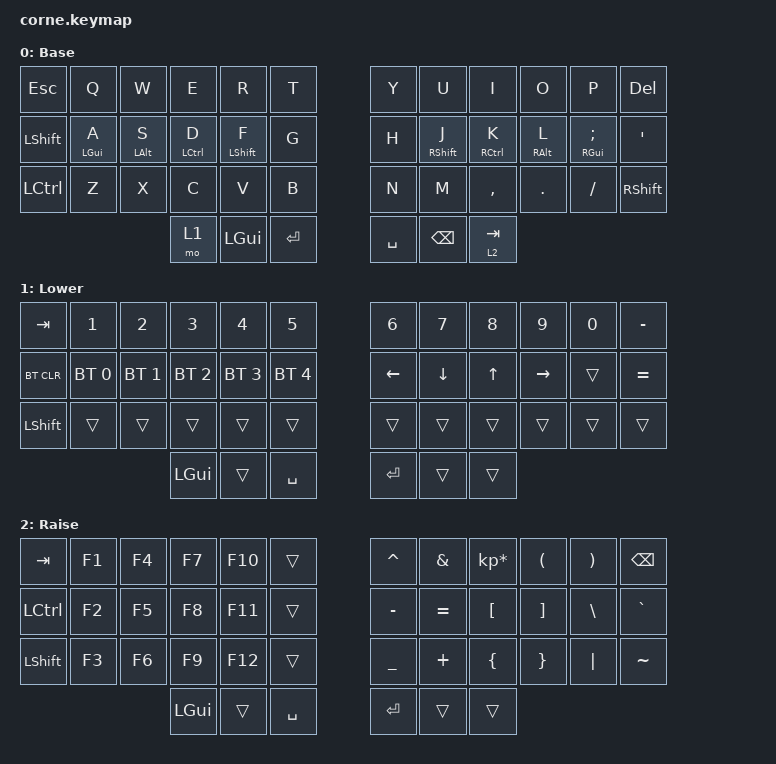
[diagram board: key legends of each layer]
/*
 * Copyright (c) 2020 The ZMK Contributors
 *
 * SPDX-License-Identifier: MIT
 */

#include <behaviors.dtsi>
#include <dt-bindings/zmk/bt.h>
#include <dt-bindings/zmk/keys.h>

/ {
    behaviors {
        HMR: HMR {
            compatible = "zmk,behavior-hold-tap";
            label = "HMR";
            bindings = <&kp>, <&kp>;

            #binding-cells = <2>;
            flavor = "tap-preferred";
            tapping-term-ms = <280>;
            quick-tap-ms = <175>;
            hold-trigger-on-release;
            hold-trigger-key-positions = <41 40 39 0 1 5 12 13 14 15 16 17 24 25 26 27 28 29 36 37 38 0 1 2 3 4 5 12 13 14 15 16 17 24 25 26 27 28 29 36 37 38>;
        };

        HML: HML {
            compatible = "zmk,behavior-hold-tap";
            label = "HML";
            bindings = <&kp>, <&kp>;

            #binding-cells = <2>;
            tapping-term-ms = <280>;
            quick-tap-ms = <175>;
            flavor = "tap-preferred";
            hold-trigger-on-release;
            hold-trigger-key-positions = <38 37 36 6 7 8 9 10 11 18 19 20 21 22 23 30 31 32 33 34 35 39 40 41>;
        };
    };

    keymap {
        compatible = "zmk,keymap";

        default_layer {
            // -----------------------------------------------------------------------------------------
            // |  TAB |  Q  |  W  |  E  |  R  |  T  |   |  Y  |  U   |  I  |  O  |  P  | BKSP |
            // | CTRL |  A  |  S  |  D  |  F  |  G  |   |  H  |  J   |  K  |  L  |  ;  |  '   |
            // | SHFT |  Z  |  X  |  C  |  V  |  B  |   |  N  |  M   |  ,  |  .  |  /  | ESC  |
            //                    | GUI | LWR | SPC |   | ENT | RSE  | ALT |

            display-name = "Base";
            bindings = <
&kp ESC     &kp Q            &kp W            &kp E         &kp R              &kp T        &kp Y      &kp U               &kp I                 &kp O             &kp P                     &kp DELETE
&kp LSHIFT  &HML LEFT_GUI A  &HML LEFT_ALT S  &HML LCTRL D  &HML LEFT_SHIFT F  &kp G        &kp H      &HMR RIGHT_SHIFT J  &HMR RIGHT_CONTROL K  &HMR RIGHT_ALT L  &HMR RIGHT_GUI SEMICOLON  &kp SQT
&kp LCTRL   &kp Z            &kp X            &kp C         &kp V              &kp B        &kp N      &kp M               &kp COMMA             &kp DOT           &kp FSLH                  &kp RSHFT
                                              &mo 1         &kp LEFT_GUI       &kp ENTER    &kp SPACE  &kp BACKSPACE       &lt 2 TAB
            >;
        };

        lower_layer {
            // -----------------------------------------------------------------------------------------
            // |  TAB |  1  |  2  |  3  |  4  |  5  |   |  6  |  7  |  8  |  9  |  0  | BKSP |
            // | BTCLR| BT1 | BT2 | BT3 | BT4 | BT5 |   | LFT | DWN |  UP | RGT |     |      |
            // | SHFT |     |     |     |     |     |   |     |     |     |     |     |      |
            //                    | GUI |     | SPC |   | ENT |     | ALT |

            display-name = "Lower";
            bindings = <
&kp TAB     &kp N1        &kp N2        &kp N3        &kp N4        &kp N5          &kp N6    &kp N7    &kp N8  &kp N9     &kp N0  &kp MINUS
&bt BT_CLR  &bt BT_SEL 0  &bt BT_SEL 1  &bt BT_SEL 2  &bt BT_SEL 3  &bt BT_SEL 4    &kp LEFT  &kp DOWN  &kp UP  &kp RIGHT  &trans  &kp EQUAL
&kp LSHFT   &trans        &trans        &trans        &trans        &trans          &trans    &trans    &trans  &trans     &trans  &trans
                                        &kp LGUI      &trans        &kp SPACE       &kp RET   &trans    &trans
            >;
        };

        raise_layer {
            // -----------------------------------------------------------------------------------------
            // |  TAB |  !  |  @  |  #  |  $  |  %  |   |  ^  |  &  |  *  |  (  |  )  | BKSP |
            // | CTRL |     |     |     |     |     |   |  -  |  =  |  [  |  ]  |  \  |  `   |
            // | SHFT |     |     |     |     |     |   |  _  |  +  |  {  |  }  | "|" |  ~   |
            //                    | GUI |     | SPC |   | ENT |     | ALT |

            display-name = "Raise";
            bindings = <
&kp TAB    &kp F1  &kp F4  &kp F7    &kp F10  &trans       &kp CARET  &kp AMPS   &kp KP_MULTIPLY  &kp LPAR  &kp RPAR  &kp BSPC
&kp LCTRL  &kp F2  &kp F5  &kp F8    &kp F11  &trans       &kp MINUS  &kp EQUAL  &kp LBKT         &kp RBKT  &kp BSLH  &kp GRAVE
&kp LSHFT  &kp F3  &kp F6  &kp F9    &kp F12  &trans       &kp UNDER  &kp PLUS   &kp LBRC         &kp RBRC  &kp PIPE  &kp TILDE
                           &kp LGUI  &trans   &kp SPACE    &kp RET    &trans     &trans
            >;
        };

        extra_1 { status = "reserved"; };

        extra_2 { status = "reserved"; };

        extra_3 { status = "reserved"; };
    };
};
